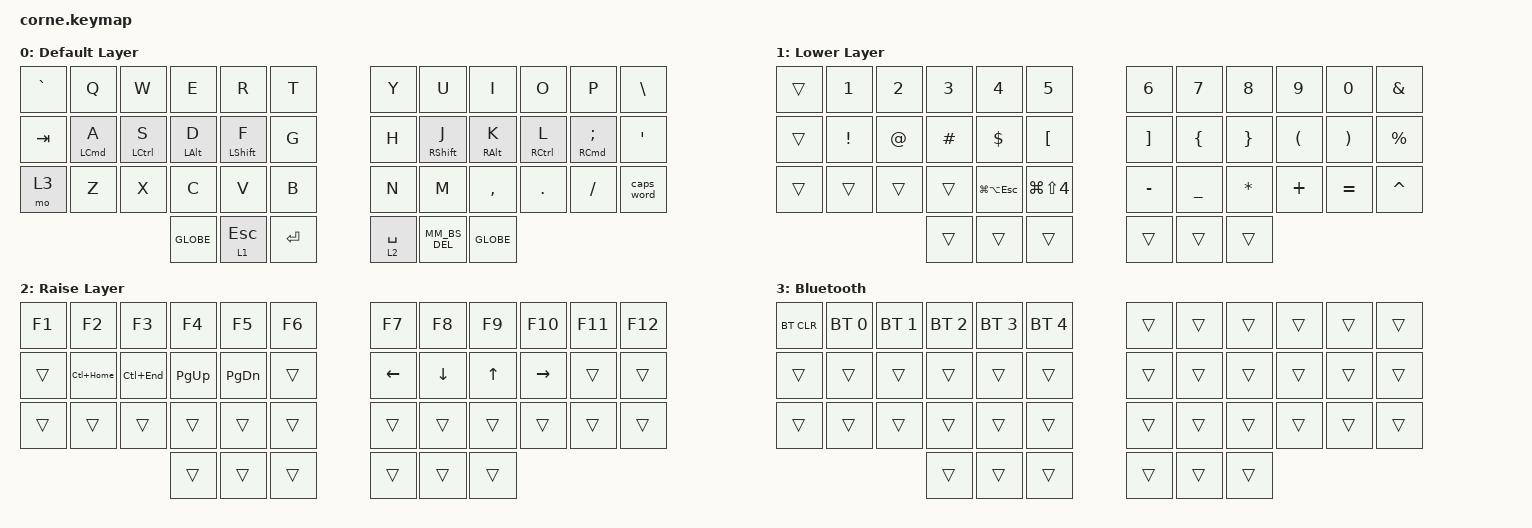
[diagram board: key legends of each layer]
/*
 * Copyright (c) 2020 The ZMK Contributors
 *
 * SPDX-License-Identifier: MIT
 */

#include <behaviors.dtsi>
#include <dt-bindings/zmk/bt.h>
#include <dt-bindings/zmk/keys.h>

&mt {
    flavor = "balanced";
    quick-tap-ms = <200>;
    require-prior-idle-ms = <150>;
    tapping-term-ms = <300>;
};

&caps_word { continue-list = <UNDERSCORE BACKSPACE DELETE MINUS NUMBER_1 NUMBER_2 NUMBER_3 NUMBER_4 NUMBER_5 NUMBER_6 NUMBER_7 NUMBER_8 NUMBER_9 NUMBER_0>; };

&lt { flavor = "balanced"; };

/ {
    behaviors {
        MT_SHIFT_KEYS: MT_SHIFT_KEYS {
            compatible = "zmk,behavior-hold-tap";
            label = "MT_SHIFT_KEYS";
            bindings = <&kp>, <&kp>;

            #binding-cells = <2>;
            tapping-term-ms = <300>;
            quick-tap-ms = <200>;
            flavor = "balanced";
            hold-while-undecided;
        };

        MM_BS_DEL: MM_BS_DEL {
            compatible = "zmk,behavior-mod-morph";
            label = "MM_BS_DEL";
            bindings = <&kp BACKSPACE>, <&kp DEL>;

            #binding-cells = <0>;
            mods = <(MOD_LSFT|MOD_RSFT)>;
        };

        hml: home_row_mod_left {
            compatible = "zmk,behavior-hold-tap";
            bindings = <&kp>, <&kp>;

            #binding-cells = <2>;
            tapping-term-ms = <280>;
            quick-tap-ms = <175>;
            require-prior-idle-ms = <150>;
            flavor = "balanced";
            hold-trigger-key-positions = <6 7 8 9 10 11 18 19 20 21 22 23 30 31 32 33 34 35>;
            hold-trigger-on-release;
        };

        hmr: home_row_mod_right {
            compatible = "zmk,behavior-hold-tap";
            bindings = <&kp>, <&kp>;

            #binding-cells = <2>;
            tapping-term-ms = <280>;
            quick-tap-ms = <175>;
            require-prior-idle-ms = <150>;
            flavor = "balanced";
            hold-trigger-key-positions = <0 1 2 3 4 5 12 13 14 15 16 17 24 25 26 27 28 29>;
            hold-trigger-on-release;
        };
    };

    combos {
        compatible = "zmk,combos";

        esc_combo {
            bindings = <&kp ESC>;
            key-positions = <19 20>;
        };

        backspace {
            bindings = <&kp BACKSPACE>;
            key-positions = <18 19>;
        };

        Gaming_Layer {
            bindings = <&tog 0>;
            key-positions = <37 40>;
        };
    };

    keymap {
        compatible = "zmk,keymap";

        default_layer {
            display-name = "Default Layer";

            // -----------------------------------------------------------------------------------------
            // |  TAB |  Q  |  W  |  E  |  R  |  T  |   |  Y  |  U   |  I  |  O  |  P  | BSPC |
            // | CTRL |  A  |  S  |  D  |  F  |  G  |   |  H  |  J   |  K  |  L  |  ;  |  '   |
            // | SHFT |  Z  |  X  |  C  |  V  |  B  |   |  N  |  M   |  ,  |  .  |  /  | ESC  |
            //                    | GUI | LWR | SPC |   | ENT | RSE  | ALT |

            bindings = <
&kp GRAVE  &kp Q                &kp W                &kp E            &kp R              &kp T        &kp Y        &kp U               &kp I             &kp O         &kp P                         &kp BACKSLASH
&kp TAB    &hml LEFT_COMMAND A  &hml LEFT_CONTROL S  &hml LEFT_ALT D  &hml LEFT_SHIFT F  &kp G        &kp H        &hmr RIGHT_SHIFT J  &hmr RIGHT_ALT K  &hmr RCTRL L  &hmr RIGHT_COMMAND SEMICOLON  &kp SINGLE_QUOTE
&mo 3      &kp Z                &kp X                &kp C            &kp V              &kp B        &kp N        &kp M               &kp COMMA         &kp DOT       &kp FSLH                      &caps_word
                                                     &kp GLOBE        &lt 1 ESCAPE       &kp ENTER    &lt 2 SPACE  &MM_BS_DEL          &kp GLOBE
            >;
        };

        lower_layer {
            display-name = "Lower Layer";

            // -----------------------------------------------------------------------------------------
            // |  TAB |  1  |  2  |  3  |  4  |  5  |   |  6  |  7  |  8  |  9  |  0  | BSPC |
            // | BTCLR| BT1 | BT2 | BT3 | BT4 | BT5 |   | LFT | DWN |  UP | RGT |     |      |
            // | SHFT |     |     |     |     |     |   |     |     |     |     |     |      |
            //                    | GUI |     | SPC |   | ENT |     | ALT |

            bindings = <
&trans  &kp N1           &kp N2       &kp N3    &kp N4           &kp N5                  &kp N6             &kp N7          &kp N8           &kp N9                &kp N0                 &kp AMPS
&trans  &kp EXCLAMATION  &kp AT_SIGN  &kp HASH  &kp DOLLAR       &kp LEFT_BRACKET        &kp RIGHT_BRACKET  &kp LEFT_BRACE  &kp RIGHT_BRACE  &kp LEFT_PARENTHESIS  &kp RIGHT_PARENTHESIS  &kp PERCENT
&trans  &trans           &trans       &trans    &kp LG(LA(ESC))  &kp LG(LS(NUMBER_4))    &kp MINUS          &kp UNDER       &kp STAR         &kp PLUS              &kp EQUAL              &kp CARET
                                      &trans    &trans           &trans                  &trans             &trans          &trans
            >;
        };

        raise_layer {
            display-name = "Raise Layer";

            // -----------------------------------------------------------------------------------------
            // |  TAB |  !  |  @  |  #  |  $  |  %  |   |  ^  |  &  |  *  |  (  |  )  | BSPC |
            // | CTRL |     |     |     |     |     |   |  -  |  =  |  [  |  ]  |  \  |  `   |
            // | SHFT |     |     |     |     |     |   |  _  |  +  |  {  |  }  | "|" |  ~   |
            //                    | GUI |     | SPC |   | ENT |     | ALT |

            bindings = <
&kp F1  &kp F2        &kp F3       &kp F4       &kp F5         &kp F6    &kp F7          &kp F8          &kp F9        &kp F10          &kp F11  &kp F12
&trans  &kp LC(HOME)  &kp LC(END)  &kp PAGE_UP  &kp PAGE_DOWN  &trans    &kp LEFT_ARROW  &kp DOWN_ARROW  &kp UP_ARROW  &kp RIGHT_ARROW  &trans   &trans
&trans  &trans        &trans       &trans       &trans         &trans    &trans          &trans          &trans        &trans           &trans   &trans
                                   &trans       &trans         &trans    &trans          &trans          &trans
            >;
        };

        Bluetooth {
            bindings = <
&bt BT_CLR  &bt BT_SEL 0  &bt BT_SEL 1  &bt BT_SEL 2  &bt BT_SEL 3  &bt BT_SEL 4    &trans  &trans  &trans  &trans  &trans  &trans
&trans      &trans        &trans        &trans        &trans        &trans          &trans  &trans  &trans  &trans  &trans  &trans
&trans      &trans        &trans        &trans        &trans        &trans          &trans  &trans  &trans  &trans  &trans  &trans
                                        &trans        &trans        &trans          &trans  &trans  &trans
            >;
        };
    };

    conditional_layers { compatible = "zmk,conditional-layers"; };
};
